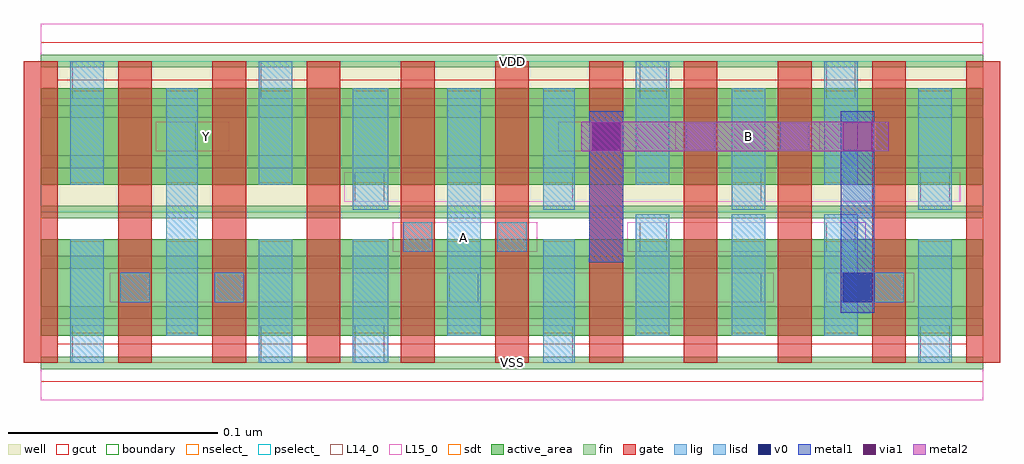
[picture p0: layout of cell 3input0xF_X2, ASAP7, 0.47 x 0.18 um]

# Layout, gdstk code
import gdstk
lib = gdstk.Library(unit=1e-6, precision=1e-09)
def R(c, l, rs):  # rectangles x0, y0, x1, y1
    for r in rs: c.add(gdstk.rectangle(r[:2], r[2:], *l))
def A(c, l, x, y, w, h, nx, ny, dx, dy):  # array of equal rectangles
    R(c, l, [(x+i*dx, y+j*dy, x+i*dx+w, y+j*dy+h) for i in range(nx) for j in range(ny)])
def P(c, l, *ps):  # polygons
    for p in ps: c.add(gdstk.Polygon(p, *l))
well = (1, 0)
fin = (2, 0)
gate = (7, 0)
gcut = (10, 0)
active_area = (11, 0)
nselect_ = (12, 0)
pselect_ = (13, 0)
L14_0 = (14, 0)
L15_0 = (15, 0)
lig = (16, 0)
lisd = (17, 0)
v0 = (18, 0)
metal1 = (19, 0)
metal2 = (20, 0)
via1 = (21, 0)
sdt = (88, 0)
boundary = (100, 0)

c_3input0xf_x2 = lib.new_cell('3input0xF_X2')
R(c_3input0xf_x2, well, [(0,0.072,0.45,0.144)])
A(c_3input0xf_x2, fin, 0, -0.003, 0.45, 0.006, 1, 7, 0, 0.024)
A(c_3input0xf_x2, gate, -0.008, 0, 0.016, 0.144, 11, 1, 0.045, 0)
P(c_3input0xf_x2, gcut, [(0,-0.009),(0,0),(-0.008,0),(-0.008,0.135),(0.008,0.135),(0.008,0.009),(0.127,0.009),(0.127,0.135),(0.143,0.135),(0.143,0.009),(0.442,0.009),(0.442,0.135),(-0.008,0.135),(-0.008,0.144),(0,0.144),(0,0.153),(0.45,0.153),(0.45,0.144),(0.458,0.144),(0.458,0),(0.45,0),(0.45,-0.009)])
R(c_3input0xf_x2, active_area, [(0,0.013,0.45,0.059), (0,0.085,0.45,0.131)])
R(c_3input0xf_x2, nselect_, [(0,0,0.45,0.072)])
R(c_3input0xf_x2, pselect_, [(0,0.072,0.45,0.144)])
A(c_3input0xf_x2, L14_0, 0.15, 0.077, 0.014, 0.014, 4, 1, 0.09, 0)
A(c_3input0xf_x2, L14_0, 0.263, 0.101, 0.014, 0.014, 3, 1, 0.045, 0)
R(c_3input0xf_x2, L14_0, [(0.015,0,0.03,0.018), (0.105,0,0.12,0.018), (0.15,0,0.164,0.018), (0.24,0,0.254,0.018), (0.42,0,0.434,0.018), (0.038,0.029,0.052,0.043), (0.083,0.029,0.097,0.043), (0.195,0.029,0.209,0.043), (0.33,0.029,0.344,0.043), (0.398,0.029,0.412,0.043), (0.173,0.053,0.187,0.067), (0.218,0.053,0.232,0.067), (0.286,0.053,0.299,0.067), (0.375,0.053,0.389,0.067), (0.06,0.101,0.074,0.115), (0.015,0.126,0.03,0.144), (0.105,0.126,0.12,0.144), (0.286,0.126,0.299,0.144), (0.375,0.126,0.389,0.144)])
R(c_3input0xf_x2, L15_0, [(0,-0.018,0.45,0.018), (0.033,0.029,0.35,0.043), (0.375,0.029,0.417,0.043), (0.168,0.053,0.237,0.067), (0.28,0.053,0.394,0.067), (0.145,0.077,0.439,0.091), (0.055,0.101,0.09,0.115), (0.247,0.101,0.285,0.115), (0.303,0.101,0.372,0.115), (0,0.126,0.45,0.162)])
A(c_3input0xf_x2, lig, 0.263, 0.101, 0.014, 0.014, 3, 1, 0.045, 0)
R(c_3input0xf_x2, lig, [(0.038,0.029,0.052,0.043), (0.083,0.029,0.097,0.043), (0.398,0.029,0.412,0.043), (0.173,0.053,0.187,0.067), (0.218,0.053,0.232,0.067)])
R(c_3input0xf_x2, lisd, [(0.014,0,0.03,0.059), (0.104,0,0.12,0.059), (0.149,0,0.166,0.059), (0.24,0,0.255,0.059), (0.419,0,0.435,0.059), (0.06,0.013,0.075,0.131), (0.194,0.013,0.21,0.131), (0.284,0.013,0.3,0.071), (0.33,0.013,0.346,0.071), (0.374,0.013,0.39,0.071), (0.149,0.073,0.166,0.131), (0.24,0.073,0.255,0.131), (0.33,0.073,0.346,0.131), (0.419,0.073,0.435,0.131), (0.014,0.085,0.03,0.144), (0.104,0.085,0.12,0.144), (0.284,0.085,0.3,0.144), (0.374,0.085,0.39,0.144)])
R(c_3input0xf_x2, v0, [(0.383,0.029,0.397,0.043), (0.263,0.101,0.277,0.115)])
R(c_3input0xf_x2, metal1, [(0.382,0.024,0.398,0.12), (0.262,0.048,0.278,0.12)])
R(c_3input0xf_x2, metal2, [(0.258,0.101,0.405,0.115)])
R(c_3input0xf_x2, via1, [(0.263,0.101,0.277,0.115), (0.383,0.101,0.397,0.115)])
A(c_3input0xf_x2, sdt, 0.014, 0.014, 0.016, 0.044, 4, 2, 0.09, 0.072)
R(c_3input0xf_x2, sdt, [(0.06,0.014,0.075,0.058), (0.149,0.014,0.166,0.058), (0.24,0.014,0.255,0.058), (0.33,0.014,0.346,0.058), (0.374,0.014,0.39,0.058), (0.419,0.014,0.435,0.058), (0.06,0.086,0.075,0.13), (0.149,0.086,0.166,0.13), (0.24,0.086,0.255,0.13), (0.33,0.086,0.346,0.13), (0.374,0.086,0.39,0.13), (0.419,0.086,0.435,0.13)])
R(c_3input0xf_x2, boundary, [(0,0,0.45,0.144)])
c_3input0xf_x2.add(gdstk.Label('A', (0.202,0.06), layer=15, texttype=251))
c_3input0xf_x2.add(gdstk.Label('VSS', (0.225,0), layer=15, texttype=251))
c_3input0xf_x2.add(gdstk.Label('VDD', (0.225,0.144), layer=15, texttype=251))
c_3input0xf_x2.add(gdstk.Label('B', (0.338,0.108), layer=15, texttype=251))
c_3input0xf_x2.add(gdstk.Label('VSS', (0.225,0), layer=15, texttype=251))
c_3input0xf_x2.add(gdstk.Label('VDD', (0.225,0.144), layer=15, texttype=251))
c_3input0xf_x2.add(gdstk.Label('Y', (0.079,0.108), layer=15, texttype=251))
c_3input0xf_x2.add(gdstk.Label('VSS', (0.225,0), layer=15, texttype=251))
c_3input0xf_x2.add(gdstk.Label('VDD', (0.225,0.144), layer=15, texttype=251))
c_3input0xf_x2.add(gdstk.Label('VSS', (0.225,0), layer=15, texttype=251))
c_3input0xf_x2.add(gdstk.Label('VDD', (0.225,0.144), layer=15, texttype=251))
c_3input0xf_x2.add(gdstk.Label('VSS', (0.225,0), layer=3, texttype=251))
c_3input0xf_x2.add(gdstk.Label('VSS', (0.225,0), layer=3, texttype=251))
c_3input0xf_x2.add(gdstk.Label('VSS', (0.225,0), layer=3, texttype=251))
c_3input0xf_x2.add(gdstk.Label('VSS', (0.225,0), layer=3, texttype=251))
c_3input0xf_x2.add(gdstk.Label('VDD', (0.225,0.144), layer=1, texttype=251))
c_3input0xf_x2.add(gdstk.Label('VDD', (0.225,0.144), layer=1, texttype=251))
c_3input0xf_x2.add(gdstk.Label('VDD', (0.225,0.144), layer=1, texttype=251))
c_3input0xf_x2.add(gdstk.Label('VDD', (0.225,0.144), layer=1, texttype=251))
c_3input0xf_x2.add(gdstk.Label('C', (0.338,0.108), layer=20, texttype=251))

lib.write_gds('3input0xF_X2.gds')
